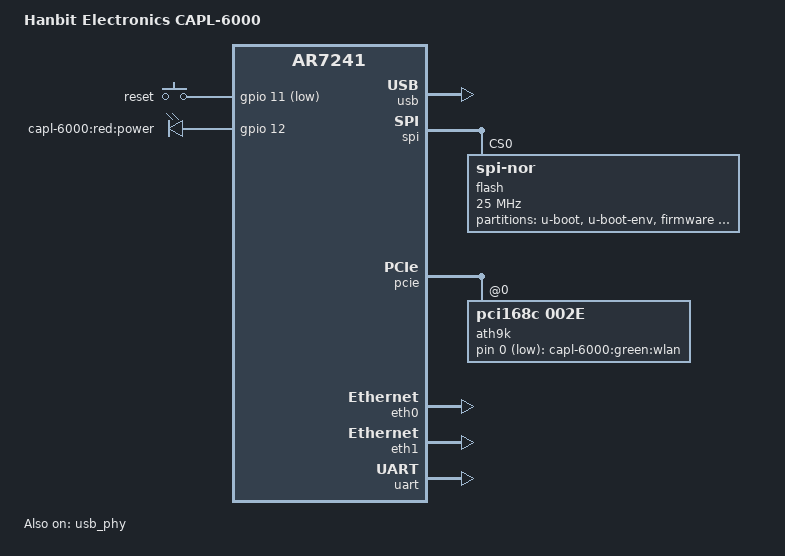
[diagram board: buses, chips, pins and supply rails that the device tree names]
// SPDX-License-Identifier: GPL-2.0-or-later OR MIT
/dts-v1/;

#include <dt-bindings/gpio/gpio.h>
#include <dt-bindings/input/input.h>

#include "ar7241.dtsi"

/ {
	compatible = "hanbit,capl-6000", "qca,ar7241";
	model = "Hanbit Electronics CAPL-6000";

	aliases {
		led-boot = &led_power;
		led-failsafe = &led_power;
		led-running = &led_power;
		led-upgrade = &led_power;
		label-mac-device = &eth0;
	};

	keys {
		compatible = "gpio-keys";

		reset {
			label = "reset";
			linux,code = <KEY_RESTART>;
			gpios = <&gpio 11 GPIO_ACTIVE_LOW>;
		};
	};

	gpio-leds {
		compatible = "gpio-leds";

		led_power: power {
			label = "capl-6000:red:power";
			gpios = <&gpio 12 GPIO_ACTIVE_HIGH>;
		};
	};

	ath9k-leds {
		compatible = "gpio-leds";

		wlan {
			label = "capl-6000:green:wlan";
			gpios = <&ath9k 0 GPIO_ACTIVE_LOW>;
			linux,default-trigger = "phy0tpt";
		};
	};
};

&usb {
	#address-cells = <1>;
	#size-cells = <0>;
	status = "okay";

	port@1 {
		reg = <1>;
		#trigger-source-cells = <0>;
	};
};

&usb_phy {
	status = "okay";
};

&spi {
	status = "okay";
	num-cs = <1>;

	flash@0 {
		compatible = "jedec,spi-nor";
		reg = <0>;
		spi-max-frequency = <25000000>;

		partitions {
			compatible = "fixed-partitions";
			#address-cells = <1>;
			#size-cells = <1>;

			partition@0 {
				reg = <0x0 0x40000>;
				label = "u-boot";
				read-only;
			};

			partition@40000 {
				reg = <0x40000 0x10000>;
				label = "u-boot-env";
			};

			partition@50000 {
				reg = <0x50000 0xfa0000>;
				label = "firmware";

				compatible = "fixed-partitions";
				#address-cells = <1>;
				#size-cells = <1>;

				partition@0 {
					reg = <0x0 0x400000>;
					label = "kernel";
				};

				partition@400000 {
					reg = <0x400000 0xba0000>;
					label = "rootfs";
				};
			};

			art: partition@ff0000 {
				reg = <0xff0000 0x10000>;
				label = "art";
				read-only;
			};
		};
	};
};

&pcie {
	status = "okay";

	ath9k: wifi@0,0 {
		compatible = "pci168c,002e";
		reg = <0x0000 0 0 0 0>;
		qca,no-eeprom;
		#gpio-cells = <2>;
		gpio-controller;
	};
};

&eth0 {
	status = "okay";

	mtd-mac-address = <&art 0x110c>;
	mtd-mac-address-increment = <3>;
};

&eth1 {
	status = "okay";

	mtd-mac-address = <&art 0x110c>;
};

&gpio {
	status = "okay";
};

&uart {
	status = "okay";
};
